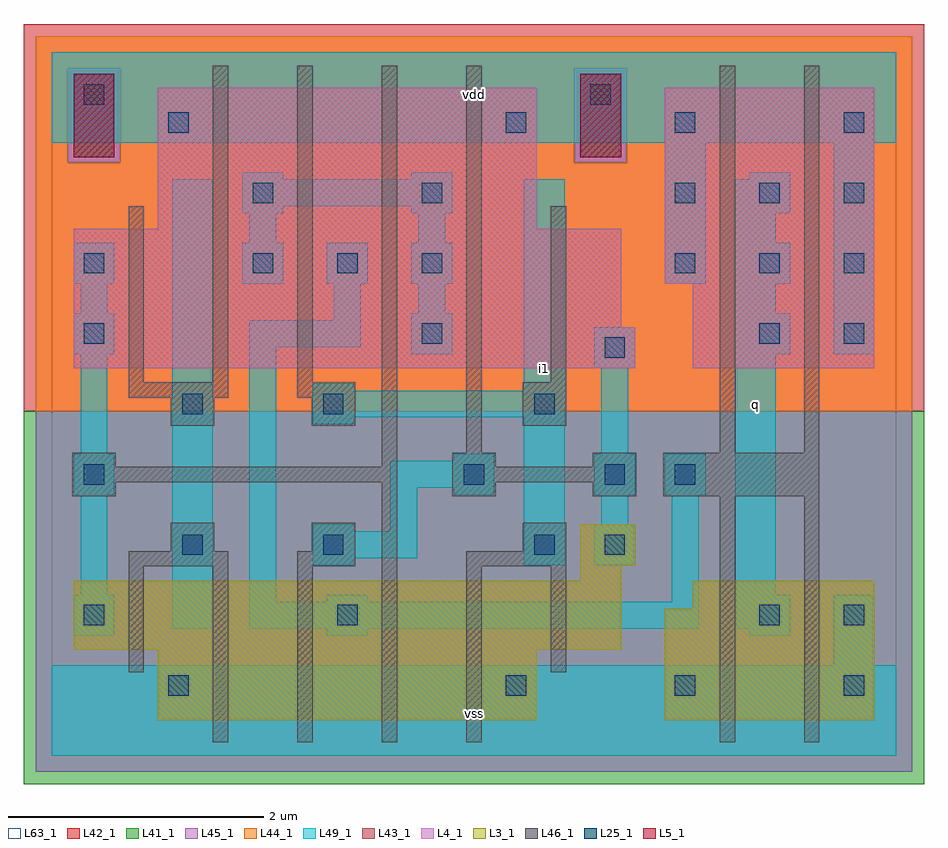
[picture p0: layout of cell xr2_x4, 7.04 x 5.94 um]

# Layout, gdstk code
import gdstk
lib = gdstk.Library(unit=1e-6, precision=1e-09)
def R(c, l, rs):  # rectangles x0, y0, x1, y1
    for r in rs: c.add(gdstk.rectangle(r[:2], r[2:], *l))
def A(c, l, x, y, w, h, nx, ny, dx, dy):  # array of equal rectangles
    R(c, l, [(x+i*dx, y+j*dy, x+i*dx+w, y+j*dy+h) for i in range(nx) for j in range(ny)])
L3_1 = (3, 1)
L4_1 = (4, 1)
L5_1 = (5, 1)
L25_1 = (25, 1)
L41_1 = (41, 1)
L42_1 = (42, 1)
L43_1 = (43, 1)
L44_1 = (44, 1)
L45_1 = (45, 1)
L46_1 = (46, 1)
L49_1 = (49, 1)
L63_1 = (63, 1)

xr2_x4 = lib.new_cell('xr2_x4')
R(xr2_x4, L3_1, [(0.83,0.28,3.79,0.83), (4.79,0.28,6.43,1.15), (0.17,0.83,4.45,1.37), (5.01,1.15,6.43,1.37), (4.13,1.37,4.45,1.49), (4.13,1.49,4.56,1.81)])
R(xr2_x4, L4_1, [(0.17,3.03,4.56,3.35), (5.01,3.03,6.43,3.69), (0.17,3.35,4.45,4.12), (4.79,3.69,6.43,5.22), (0.83,4.12,3.79,5.22)])
R(xr2_x4, L5_1, [(0.17,4.68,0.49,5.33), (4.13,4.68,4.45,5.33)])
A(xr2_x4, L25_1, 3.55, 0.47, 0.16, 0.16, 3, 2, 1.32, 4.4)
A(xr2_x4, L25_1, 0.25, 3.22, 0.16, 0.16, 3, 1, 2.64, 0)
A(xr2_x4, L25_1, 1.57, 3.77, 0.16, 0.16, 3, 1, 0.66, 0)
A(xr2_x4, L25_1, 4.87, 3.77, 0.16, 0.16, 3, 2, 0.66, 0.55)
R(xr2_x4, L25_1, [(0.91,0.47,1.07,0.63), (0.25,1.02,0.41,1.18), (2.23,1.02,2.39,1.18), (5.53,1.02,5.69,1.18), (6.19,1.02,6.35,1.18), (1.02,1.57,1.18,1.73), (2.12,1.57,2.28,1.73), (3.77,1.57,3.93,1.73), (4.32,1.57,4.48,1.73), (0.25,2.12,0.41,2.28), (3.22,2.12,3.38,2.28), (4.32,2.12,4.48,2.28), (4.87,2.12,5.03,2.28), (1.02,2.67,1.18,2.83), (2.12,2.67,2.28,2.83), (3.77,2.67,3.93,2.83), (4.32,3.11,4.48,3.27), (6.19,3.22,6.35,3.38), (0.25,3.77,0.41,3.93), (1.57,4.32,1.73,4.48), (2.89,4.32,3.05,4.48), (0.91,4.87,1.07,5.03), (0.25,5.09,0.41,5.25), (4.21,5.09,4.37,5.25)])
R(xr2_x4, L41_1, [(-0.22,-0.22,6.82,2.695)])
R(xr2_x4, L42_1, [(-0.22,2.695,6.82,5.72)])
R(xr2_x4, L43_1, [(0.83,0.28,3.79,0.83), (4.79,0.28,6.43,1.15), (0.17,0.83,4.45,1.37), (5.01,1.15,6.43,1.37), (4.13,1.37,4.45,1.49), (4.13,1.49,4.56,1.81), (0.17,3.03,4.56,3.35), (5.01,3.03,6.43,3.69), (0.17,3.35,4.45,4.12), (4.79,3.69,6.43,5.22), (0.83,4.12,3.79,5.22), (0.17,4.68,0.49,5.33), (4.13,4.68,4.45,5.33)])
R(xr2_x4, L44_1, [(-0.125,2.695,6.725,4.635), (-0.125,4.635,0.125,5.375), (0.535,4.635,4.085,5.375), (4.495,4.635,6.725,5.375), (-0.125,5.375,6.725,5.625)])
R(xr2_x4, L45_1, [(-0.125,-0.125,6.725,2.695), (0.125,4.635,0.535,5.375), (4.085,4.635,4.495,5.375)])
R(xr2_x4, L46_1, [(1.26,0.105,1.38,1.48), (1.92,0.105,2.04,1.48), (2.58,0.105,2.7,2.14), (3.24,0.105,3.36,1.48), (5.22,0.105,5.34,2.03), (5.88,0.105,6,2.03), (0.6,0.655,0.72,1.48), (3.9,0.655,4.02,1.48), (0.6,1.48,1.38,1.6), (1.92,1.48,2.37,1.6), (3.24,1.48,4.02,1.6), (0.93,1.6,1.27,1.82), (2.03,1.6,2.37,1.82), (3.68,1.6,4.02,1.82), (0.16,2.03,0.5,2.14), (3.13,2.03,3.47,2.14), (4.23,2.03,4.57,2.14), (4.78,2.03,6,2.37), (0.16,2.14,2.7,2.26), (3.13,2.14,4.57,2.26), (0.16,2.26,0.5,2.37), (2.58,2.26,2.7,5.395), (3.13,2.26,3.47,2.37), (4.23,2.26,4.57,2.37), (3.24,2.37,3.36,5.395), (5.22,2.37,5.34,5.395), (5.88,2.37,6,5.395), (0.93,2.58,1.27,2.8), (2.03,2.58,2.37,2.8), (3.68,2.58,4.02,2.92), (0.6,2.8,1.38,2.92), (1.92,2.8,2.37,2.92), (0.6,2.92,0.72,4.295), (1.26,2.92,1.38,5.395), (1.92,2.92,2.04,5.395), (3.9,2.92,4.02,4.295)])
A(xr2_x4, L49_1, 0.17, 0.94, 0.32, 0.32, 1, 3, 0, 1.1)
A(xr2_x4, L49_1, 1.49, 3.69, 0.32, 0.32, 3, 1, 0.66, 0)
R(xr2_x4, L49_1, [(0,0,6.6,0.71), (6.11,0.71,6.43,1.26), (2.15,0.94,2.47,0.995), (5.45,0.94,5.77,0.995), (0.94,0.995,1.26,4.505), (1.545,0.995,5.055,1.205), (5.34,0.995,5.77,1.26), (1.545,1.205,1.755,3.195), (2.15,1.205,2.47,1.26), (4.845,1.205,5.055,2.04), (0.225,1.26,0.435,2.04), (5.34,1.26,5.66,3.14), (2.04,1.49,2.36,1.545), (3.69,1.49,4.01,2.645), (4.24,1.49,4.56,1.81), (2.04,1.545,2.855,1.755), (2.04,1.755,2.36,1.81), (2.645,1.755,2.855,2.095), (4.295,1.81,4.505,2.04), (3.14,2.04,3.46,2.095), (4.24,2.04,4.56,2.36), (4.79,2.04,5.11,2.36), (2.645,2.095,3.46,2.305), (3.14,2.305,3.46,2.36), (0.225,2.36,0.435,3.14), (4.295,2.36,4.505,3.03), (2.04,2.59,2.36,2.645), (2.04,2.645,4.01,2.855), (2.04,2.855,2.36,2.91), (3.69,2.855,4.01,4.505), (4.24,3.03,4.56,3.35), (2.81,3.14,3.13,3.46), (5.34,3.14,5.77,3.46), (6.11,3.14,6.43,4.79), (1.545,3.195,2.415,3.405), (2.205,3.405,2.415,3.69), (0.225,3.46,0.435,3.69), (2.865,3.46,3.075,3.69), (5.34,3.46,5.66,3.69), (0.17,3.69,0.49,4.01), (4.79,3.69,5.11,4.79), (5.34,3.69,5.77,4.01), (1.545,4.01,1.755,4.24), (2.865,4.01,3.075,4.24), (5.34,4.01,5.66,4.24), (1.49,4.24,1.81,4.295), (2.81,4.24,3.13,4.295), (5.34,4.24,5.77,4.505), (1.49,4.295,3.13,4.505), (1.49,4.505,1.81,4.56), (2.81,4.505,3.13,4.56), (5.45,4.505,5.77,4.56), (0,4.79,6.6,5.5)])
R(xr2_x4, L63_1, [(0,0,6.6,5.5)])
xr2_x4.add(gdstk.Label('vss', (3.3,0.33), layer=49, texttype=1))
xr2_x4.add(gdstk.Label('vss', (3.3,0.33), layer=49, texttype=1))
xr2_x4.add(gdstk.Label('i1', (3.85,3.025), layer=49, texttype=1))
xr2_x4.add(gdstk.Label('i1', (3.85,3.025), layer=49, texttype=1))
xr2_x4.add(gdstk.Label('vdd', (3.3,5.17), layer=49, texttype=1))
xr2_x4.add(gdstk.Label('vdd', (3.3,5.17), layer=49, texttype=1))
xr2_x4.add(gdstk.Label('q', (5.5,2.75), layer=49, texttype=1))
xr2_x4.add(gdstk.Label('q', (5.5,2.75), layer=49, texttype=1))

lib.write_gds('xr2_x4.gds')
